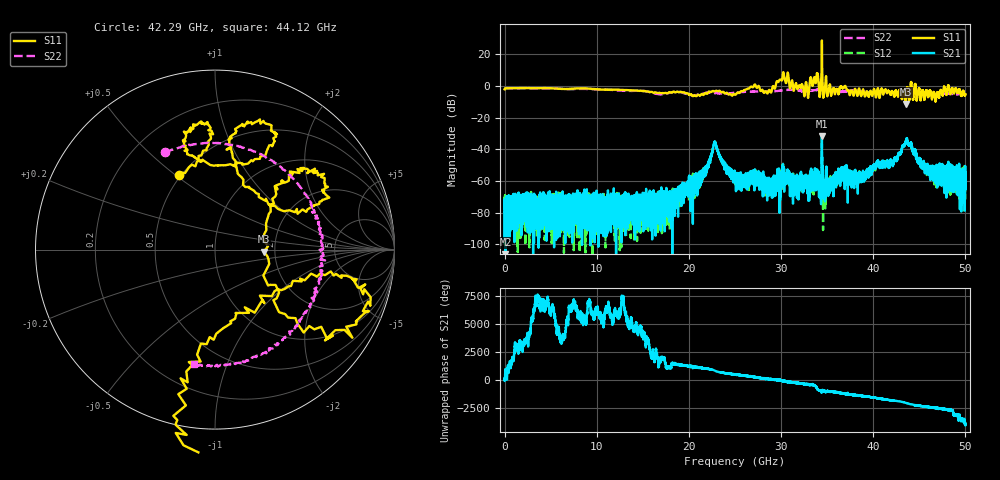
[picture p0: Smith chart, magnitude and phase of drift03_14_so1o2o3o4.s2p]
!Created with skrf (http://scikit-rf.org).
# Hz S RI R 50.0
!freq ReS11 ImS11 ReS21 ImS21 ReS12 ImS12 ReS22 ImS22
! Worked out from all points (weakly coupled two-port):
!   10000 points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, 5.3 MHz to 50 GHz, reference 50 ohm
!   highest |S21| = -31.63 dB at 34.43 GHz (marker M1); lowest = -113.3 dB at 100.3 MHz (marker M2)
!   lowest |S11| = -11.3 dB at 43.53 GHz (marker M3), VSWR 1.75, Z = 87.3 - j2.25 ohm
!   |S11| at or under -10 dB: 43.49636 GHz to 43.55614 GHz (59.78 MHz wide, 0.137 % of centre)
!   |S22| runs from -5.9 to -1.3 dB; largest |S21 - S12| = 0.014
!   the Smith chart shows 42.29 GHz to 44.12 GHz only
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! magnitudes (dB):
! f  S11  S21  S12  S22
! 5.3 MHz  -2.1  -76.4  -78.8  -2.1
! 100.3 MHz  -1.5  -113.3  -76.5  -1.5
! 8.34 GHz  -1.5  -91.3  -80.2  -1.9
! 16.67 GHz  -4.4  -85.5  -78.2  -5.2
! 21.05 GHz  -5.6  -57.7  -57.7  -5.5
! 21.93 GHz  -4.8  -53.6  -51.5  -4.4
! 22.81 GHz  -3.5  -35.5  -35.5  -4.5
! 25.01 GHz  -5.5  -57.9  -59.7  -4.3
! 27.02 GHz  -0.4  -58.0  -57.0  -3.5
! 28.72 GHz  -2.5  -58.6  -63.9  -3.6
! 30.14 GHz  4.4  -53.0  -55.8  -2.8
! 32.74 GHz  2.0  -62.1  -58.0  -3.3
! 33.34 GHz  2.5  -56.5  -56.4  -2.9
! 33.82 GHz  3.9  -62.2  -59.9  -2.6
! 34.43 GHz  28.7  -31.6  -36.4  -2.3
! 35.3 GHz  0.7  -62.6  -60.9  -2.7
! 36.82 GHz  -0.8  -54.1  -58.0  -3.1
! 38.49 GHz  -1.7  -57.2  -55.8  -3.1
! 41.67 GHz  -3.2  -49.8  -51.9  -3.8
! 43.53 GHz  -11.3  -35.4  -35.2  -4.3
! 46.39 GHz  -7.8  -55.7  -58.0  -5.5
! 50 GHz  -5.3  -57.8  -55.0  -5.0
